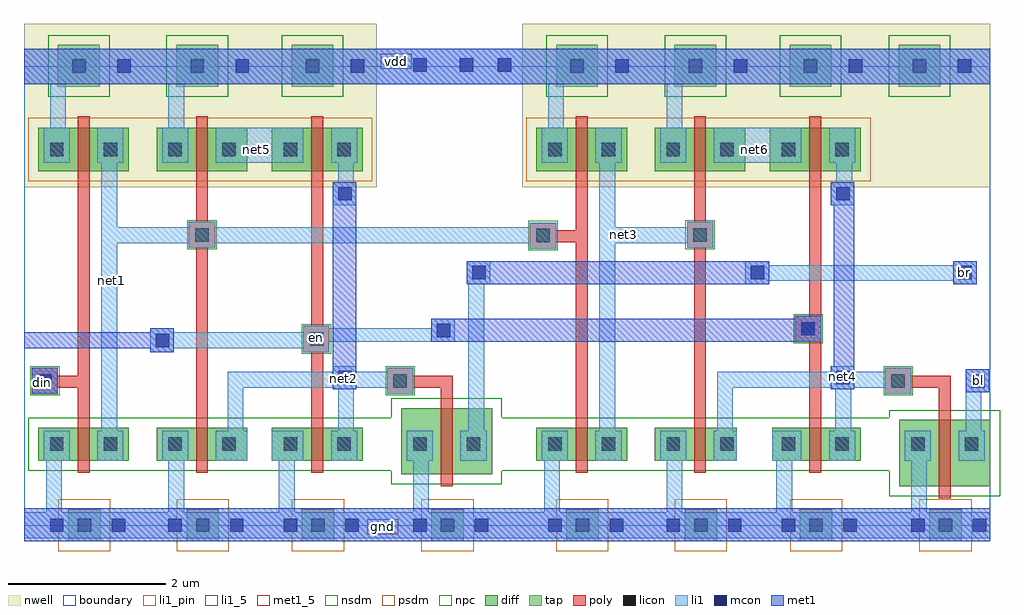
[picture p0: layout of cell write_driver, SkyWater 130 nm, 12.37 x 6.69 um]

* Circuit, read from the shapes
.subckt write_driver bl br din en gnd net1 net2 net3 net4 net5 net6 vdd
XM1 net1 din gnd gnd sky130_fd_pr__nfet_01v8 w=0.42 l=0.15
XM2 net2 net1 gnd gnd sky130_fd_pr__nfet_01v8 w=0.42 l=0.15
XM3 net2 en gnd gnd sky130_fd_pr__nfet_01v8 w=0.42 l=0.15
XM4 br net2 gnd gnd sky130_fd_pr__nfet_01v8 w=0.84 l=0.15
XM5 net3 net1 gnd gnd sky130_fd_pr__nfet_01v8 w=0.42 l=0.15
XM6 net4 net3 gnd gnd sky130_fd_pr__nfet_01v8 w=0.42 l=0.15
XM7 net4 en gnd gnd sky130_fd_pr__nfet_01v8 w=0.42 l=0.15
XM8 bl net4 gnd gnd sky130_fd_pr__nfet_01v8 w=0.84 l=0.15
XM9 net1 din vdd vdd sky130_fd_pr__pfet_01v8 w=0.55 l=0.15
XM10 net5 net1 vdd vdd sky130_fd_pr__pfet_01v8 w=0.55 l=0.15
XM11 net2 en net5 vdd sky130_fd_pr__pfet_01v8 w=0.55 l=0.15
XM12 net3 net1 vdd vdd sky130_fd_pr__pfet_01v8 w=0.55 l=0.15
XM13 net6 net3 vdd vdd sky130_fd_pr__pfet_01v8 w=0.55 l=0.15
XM14 net4 en net6 vdd sky130_fd_pr__pfet_01v8 w=0.55 l=0.15
.ends

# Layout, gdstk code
import gdstk
lib = gdstk.Library(unit=1e-6, precision=1e-09)
def R(c, l, rs):  # rectangles x0, y0, x1, y1
    for r in rs: c.add(gdstk.rectangle(r[:2], r[2:], *l))
nwell = (64, 20)
diff = (65, 20)
tap = (65, 44)
poly = (66, 20)
licon = (66, 44)
li1_5 = (67, 5)
li1_pin = (67, 16)
li1 = (67, 20)
mcon = (67, 44)
met1_5 = (68, 5)
met1 = (68, 20)
nsdm = (93, 44)
psdm = (94, 20)
npc = (95, 20)
boundary = (235, 4)

write_driver = lib.new_cell('write_driver')
R(write_driver, nwell, [(1.17,5.64,5.64,7.71), (7.48,5.64,13.41,7.71)])
R(write_driver, diff, [(12.26,1.85,13.41,2.69), (5.95,2,7.1,2.84), (1.35,2.17,2.5,2.59), (2.85,2.17,4,2.59), (4.31,2.17,5.46,2.59), (7.66,2.17,8.81,2.59), (9.16,2.17,10.2,2.59), (10.65,2.17,11.77,2.59), (1.35,5.84,2.5,6.39), (2.85,5.84,4,6.39), (4.31,5.84,5.46,6.39), (7.66,5.84,8.81,6.39), (9.16,5.84,10.31,6.39), (10.62,5.84,11.77,6.39)])
R(write_driver, tap, [(1.73,1.15,2.14,1.56), (3.23,1.15,3.64,1.56), (4.69,1.15,5.1,1.56), (6.33,1.15,6.74,1.56), (8.04,1.15,8.45,1.56), (9.54,1.15,9.95,1.56), (11,1.15,11.41,1.56), (12.64,1.15,13.05,1.56), (1.6,6.91,2.13,7.44), (3.1,6.91,3.63,7.44), (4.56,6.91,5.09,7.44), (7.91,6.91,8.44,7.44), (9.41,6.91,9.94,7.44), (10.87,6.91,11.4,7.44), (12.25,6.91,12.78,7.44)])
R(write_driver, poly, [(12.76,1.7,12.91,3.1), (6.45,1.85,6.6,3.1), (1.85,2.02,2,3.1), (3.35,2.02,3.5,4.87), (4.81,2.02,4.96,3.55), (8.16,2.02,8.31,4.94), (9.66,2.02,9.81,4.87), (11.12,2.02,11.27,3.68), (1.27,3.02,1.6,3.1), (5.77,3.02,6.1,3.1), (12.08,3.02,12.41,3.1), (1.27,3.1,2,3.25), (5.77,3.1,6.6,3.25), (12.08,3.1,12.91,3.25), (1.27,3.25,1.6,3.35), (1.85,3.25,2,6.54), (5.77,3.25,6.1,3.35), (12.08,3.25,12.41,3.35), (4.71,3.55,5.04,3.88), (10.94,3.68,11.27,4.01), (4.81,3.88,4.96,6.54), (11.12,4.01,11.27,6.54), (7.58,4.86,7.91,4.94), (3.26,4.87,3.59,5.2), (9.57,4.87,9.9,5.2), (7.58,4.94,8.31,5.09), (7.58,5.09,7.91,5.19), (8.16,5.09,8.31,6.54), (3.35,5.2,3.5,6.54), (9.66,5.2,9.81,6.54)])
R(write_driver, licon, [(1.85,1.27,2.02,1.44), (3.35,1.27,3.52,1.44), (4.81,1.27,4.98,1.44), (6.45,1.27,6.62,1.44), (8.16,1.27,8.33,1.44), (9.66,1.27,9.83,1.44), (11.12,1.27,11.29,1.44), (12.76,1.27,12.93,1.44), (1.5,2.3,1.67,2.47), (2.18,2.3,2.35,2.47), (3,2.3,3.17,2.47), (3.68,2.3,3.85,2.47), (4.46,2.3,4.63,2.47), (5.14,2.3,5.31,2.47), (6.1,2.3,6.27,2.47), (6.78,2.3,6.95,2.47), (7.81,2.3,7.98,2.47), (8.49,2.3,8.66,2.47), (9.31,2.3,9.48,2.47), (9.99,2.3,10.16,2.47), (10.77,2.3,10.94,2.47), (11.45,2.3,11.62,2.47), (12.41,2.3,12.58,2.47), (13.09,2.3,13.26,2.47), (1.35,3.1,1.52,3.27), (5.85,3.1,6.02,3.27), (12.16,3.1,12.33,3.27), (4.79,3.63,4.96,3.8), (11.02,3.76,11.19,3.93), (7.66,4.94,7.83,5.11), (3.34,4.95,3.51,5.12), (9.65,4.95,9.82,5.12), (1.5,6.03,1.67,6.2), (2.18,6.03,2.35,6.2), (3,6.03,3.17,6.2), (3.68,6.03,3.85,6.2), (4.46,6.03,4.63,6.2), (5.14,6.03,5.31,6.2), (7.81,6.03,7.98,6.2), (8.49,6.03,8.66,6.2), (9.31,6.03,9.48,6.2), (9.99,6.03,10.16,6.2), (10.77,6.03,10.94,6.2), (11.45,6.03,11.62,6.2), (1.78,7.09,1.95,7.26), (3.28,7.09,3.45,7.26), (4.74,7.09,4.91,7.26), (8.09,7.09,8.26,7.26), (9.59,7.09,9.76,7.26), (11.05,7.09,11.22,7.26), (12.43,7.09,12.6,7.26)])
R(write_driver, li1_5, [(1.36,3.11,1.46,3.22), (13.21,3.15,13.31,3.24), (4.82,3.68,4.92,3.79), (13.04,4.51,13.14,4.6)])
R(write_driver, li1_pin, [(5.17,3.16,5.27,3.27), (11.49,3.18,11.59,3.29), (2.23,4.4,2.33,4.51), (8.71,4.99,8.81,5.1), (4.06,6.06,4.16,6.17), (10.38,6.06,10.48,6.17)])
R(write_driver, li1, [(1.17,1.19,13.41,1.52), (1.45,1.52,1.65,2.17), (3,1.52,3.2,2.17), (4.4,1.52,4.6,2.17), (6.1,1.52,6.3,2.17), (7.76,1.52,7.96,2.17), (9.31,1.52,9.51,2.17), (10.7,1.52,10.9,2.17), (12.41,1.52,12.61,2.17), (1.42,2.17,1.75,2.55), (2.1,2.17,2.43,2.55), (2.92,2.17,3.25,2.55), (3.6,2.17,4,2.55), (4.31,2.17,4.71,2.55), (5.06,2.17,5.39,2.55), (6.02,2.17,6.35,2.55), (6.7,2.17,7.03,2.55), (7.73,2.17,8.06,2.55), (8.41,2.17,8.74,2.55), (9.23,2.17,9.56,2.55), (9.91,2.17,10.2,2.55), (10.65,2.17,11.02,2.55), (11.37,2.17,11.7,2.55), (12.33,2.17,12.66,2.55), (13.01,2.17,13.34,2.55), (2.15,2.55,2.35,4.93), (3.75,2.55,3.95,3.1), (5.15,2.55,5.35,3.08), (6.8,2.55,7,4.41), (8.46,2.55,8.66,4.93), (9.95,2.55,10.15,3.1), (11.45,2.55,11.65,3.08), (13.1,2.55,13.3,3.04), (1.27,3.02,1.6,3.35), (5.77,3.02,6.1,3.1), (12.08,3.02,12.41,3.1), (13.1,3.04,13.4,3.33), (5.08,3.08,5.38,3.1), (11.39,3.08,11.69,3.1), (3.75,3.1,6.1,3.3), (9.95,3.1,12.41,3.3), (5.08,3.3,5.38,3.37), (5.77,3.3,6.1,3.35), (11.39,3.3,11.69,3.37), (12.08,3.3,12.41,3.35), (2.77,3.55,3.07,3.6), (4.71,3.55,5.04,3.6), (2.77,3.6,5.04,3.68), (2.77,3.68,6.63,3.8), (10.94,3.68,11.27,4.01), (2.77,3.8,3.07,3.85), (4.71,3.8,6.63,3.85), (4.71,3.85,5.04,3.88), (6.33,3.85,6.63,3.97), (6.78,4.41,7.08,4.7), (10.31,4.41,10.61,4.45), (12.94,4.41,13.24,4.45), (10.31,4.45,13.24,4.65), (10.31,4.65,10.61,4.7), (12.94,4.65,13.24,4.7), (7.58,4.86,7.91,4.93), (3.26,4.87,3.59,4.93), (9.57,4.87,9.9,4.93), (2.15,4.93,7.91,5.13), (8.46,4.93,9.9,5.13), (2.15,5.13,2.35,5.95), (3.26,5.13,3.59,5.2), (7.58,5.13,7.91,5.19), (8.46,5.13,8.66,5.95), (9.57,5.13,9.9,5.2), (5.08,5.41,5.38,5.7), (11.39,5.41,11.69,5.7), (5.15,5.7,5.35,5.95), (11.46,5.7,11.66,5.95), (1.42,5.95,1.75,6.39), (2.1,5.95,2.43,6.39), (2.92,5.95,3.25,6.39), (3.6,5.95,4.71,6.39), (5.06,5.95,5.39,6.39), (7.73,5.95,8.06,6.39), (8.41,5.95,8.74,6.39), (9.23,5.95,9.56,6.39), (9.91,5.95,11.02,6.39), (11.37,5.95,11.7,6.39), (1.5,6.39,1.7,6.94), (3,6.39,3.2,6.94), (7.81,6.39,8.01,6.94), (9.31,6.39,9.51,6.94), (1.17,6.94,13.41,7.39)])
R(write_driver, mcon, [(1.5,1.27,1.67,1.44), (2.28,1.27,2.45,1.44), (3,1.27,3.17,1.44), (3.78,1.27,3.95,1.44), (4.46,1.27,4.63,1.44), (5.24,1.27,5.41,1.44), (6.1,1.27,6.27,1.44), (6.88,1.27,7.05,1.44), (7.81,1.27,7.98,1.44), (8.59,1.27,8.76,1.44), (9.31,1.27,9.48,1.44), (10.09,1.27,10.26,1.44), (10.77,1.27,10.94,1.44), (11.55,1.27,11.72,1.44), (12.41,1.27,12.58,1.44), (13.19,1.27,13.36,1.44), (1.35,3.1,1.52,3.27), (13.17,3.1,13.34,3.27), (5.15,3.14,5.32,3.31), (11.46,3.14,11.63,3.31), (2.84,3.61,3.01,3.78), (6.4,3.74,6.57,3.91), (11.02,3.76,11.19,3.93), (6.85,4.47,7.02,4.64), (10.38,4.47,10.55,4.64), (13.01,4.47,13.18,4.64), (5.15,5.47,5.32,5.64), (11.46,5.47,11.63,5.64), (2.35,7.09,2.52,7.26), (3.85,7.09,4.02,7.26), (5.31,7.09,5.48,7.26), (8.66,7.09,8.83,7.26), (10.16,7.09,10.33,7.26), (11.62,7.09,11.79,7.26), (13,7.09,13.17,7.26), (6.1,7.1,6.27,7.27), (6.69,7.1,6.86,7.27), (7.17,7.1,7.34,7.27)])
R(write_driver, met1_5, [(5.52,1.24,5.91,1.43), (5.69,7.14,6.08,7.33)])
R(write_driver, met1, [(1.17,1.15,13.41,1.57), (1.27,3.02,1.6,3.35), (13.1,3.04,13.4,3.33), (5.08,3.08,5.38,5.7), (11.39,3.08,11.69,3.37), (11.43,3.37,11.69,5.41), (2.77,3.55,3.07,3.6), (1.17,3.6,3.07,3.8), (6.33,3.68,11.27,3.97), (2.77,3.8,3.07,3.85), (10.94,3.97,11.27,4.01), (6.78,4.41,10.61,4.7), (12.94,4.41,13.24,4.7), (11.39,5.41,11.69,5.7), (1.17,6.94,13.41,7.39)])
R(write_driver, nsdm, [(12.135,1.725,13.535,2.045), (5.825,1.875,7.225,2.045), (1.225,2.045,13.535,2.715), (5.825,2.715,7.225,2.965), (12.135,2.715,13.535,2.815), (1.475,6.785,2.255,7.565), (2.975,6.785,3.755,7.565), (4.435,6.785,5.215,7.565), (7.785,6.785,8.565,7.565), (9.285,6.785,10.065,7.565), (10.745,6.785,11.525,7.565), (12.125,6.785,12.905,7.565)])
R(write_driver, psdm, [(1.605,1.025,2.265,1.685), (3.105,1.025,3.765,1.685), (4.565,1.025,5.225,1.685), (6.205,1.025,6.865,1.685), (7.915,1.025,8.575,1.685), (9.415,1.025,10.075,1.685), (10.875,1.025,11.535,1.685), (12.515,1.025,13.175,1.685), (1.225,5.715,5.585,6.515), (7.535,5.715,11.895,6.515)])
R(write_driver, npc, [(1.25,3,1.62,3.37), (5.75,3,6.12,3.37), (12.06,3,12.43,3.37), (4.69,3.53,5.06,3.9), (10.92,3.66,11.29,4.03), (7.56,4.84,7.93,5.21), (3.24,4.85,3.61,5.22), (9.55,4.85,9.92,5.22)])
R(write_driver, boundary, [(1.17,1.35,13.41,7.17)])
write_driver.add(gdstk.Label('net1', (2.28,4.455), layer=67, texttype=16))
write_driver.add(gdstk.Label('net3', (8.76,5.045), layer=67, texttype=16))
write_driver.add(gdstk.Label('net4', (11.54,3.235), layer=67, texttype=16))
write_driver.add(gdstk.Label('net2', (5.22,3.215), layer=67, texttype=16))
write_driver.add(gdstk.Label('net5', (4.11,6.115), layer=67, texttype=16))
write_driver.add(gdstk.Label('net6', (10.43,6.115), layer=67, texttype=16))
write_driver.add(gdstk.Label('br', (13.09,4.555), layer=67, texttype=5))
write_driver.add(gdstk.Label('bl', (13.26,3.195), layer=67, texttype=5))
write_driver.add(gdstk.Label('gnd', (5.715,1.335), layer=68, texttype=5))
write_driver.add(gdstk.Label('vdd', (5.885,7.235), layer=68, texttype=5))
write_driver.add(gdstk.Label('din', (1.41,3.165), layer=67, texttype=5))
write_driver.add(gdstk.Label('en', (4.87,3.735), layer=67, texttype=5))

lib.write_gds('write_driver.gds')
